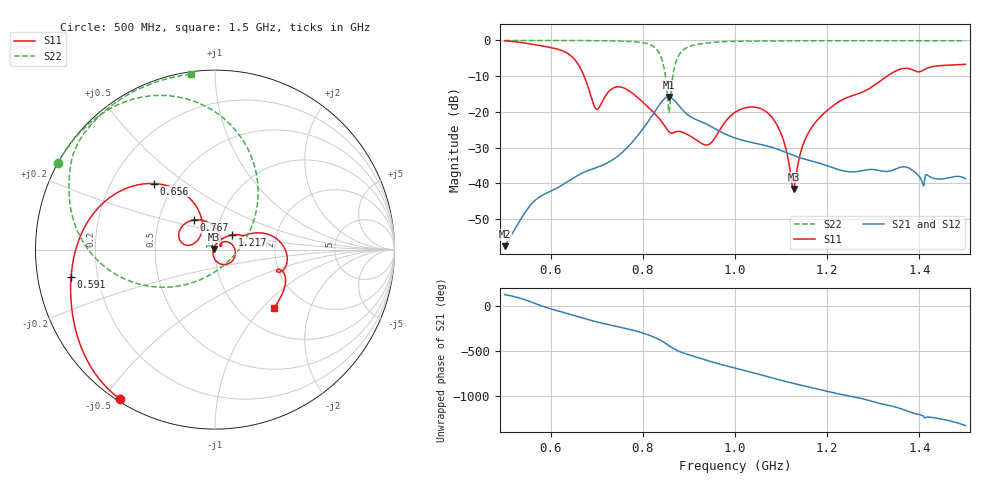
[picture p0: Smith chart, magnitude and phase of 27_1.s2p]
! TOUCHSTONE file generated by CST MICROWAVE STUDIO
! Date and time: Mon Oct 26 12:08:33 2020
! Project name: Scenario_1_Circular_Tissue_out_of_Line_v2.cst
! Parameters = {dy1=103.8; L_HA=400; MT=2.54; Rad_Dielectric=30; Rad_Lower=7.3; Rad_Upper=30; a_HA=580; a_WG=246; b_HA=500; b_WG=121; c_HA=0; c_WG=187; d_feed=85; dx1=173; h_feed=15; h_lower=18; h_upper=40}
! Header version: 2018
! Port assignment regex: !\s*Touchstone port\s*([0-9]+)\s*=\s*(CST MWS port|CST DS port)\s*([0-9]+|Zmin|Zmax)\s*\(\"(.*)\"\)(\s*mode\s*([0-9]+))?.*
! Touchstone port assignment:
! Touchstone port 1 = CST MWS port 1 ("")
! Touchstone port 2 = CST MWS port 2 ("")
# GHz S DB R 50
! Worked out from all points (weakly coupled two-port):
!   1003 points, 500 MHz to 1.5 GHz, reference 50 ohm
!   highest |S21| = -15.79 dB at 856 MHz (marker M1); lowest = -57.6 dB at 500 MHz (marker M2)
!   lowest |S11| = -41.5 dB at 1.127 GHz (marker M3), VSWR 1.02, Z = 49.2 + j0.285 ohm
!   |S11| at or under -10 dB: 672.6 MHz to 1.33 GHz (657.4 MHz wide, 65.7 % of centre)
!   |S22| runs from -20.1 to 0.0 dB; largest |S21 - S12| = 0.00021
!   S11 on the Smith chart (normalised r, x): 500 MHz: 0.01, -0.55; 591 MHz: 0.10, -0.09; 656 MHz: 0.39, +0.38; 767 MHz: 0.75, +0.26; 1.217 GHz: 1.20, +0.20; 1.5 GHz: 1.42, -1.17
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0.5  -0.11 -122.5  -57.59 128.2  -57.59 128.2  -0.01 151.1
0.591  -1.77 -169.3  -42.74 -16.7  -42.74 -16.7  -0.02 144.8
0.626  -2.93 165.1  -40.39 -68.8  -40.39 -68.8  -0.03 142.0
0.656  -6.00 132.7  -37.98 -112.9  -37.98 -112.9  -0.04 139.4
0.667  -8.40 120.9  -37.21 -129.7  -37.21 -129.7  -0.04 138.3
0.699  -19.21 142.3  -35.59 -175.6  -35.59 -175.6  -0.07 134.9
0.735  -13.36 160.1  -33.37 141.9  -33.37 141.9  -0.13 130.0
0.767  -13.85 125.6  -29.87 105.1  -29.87 105.1  -0.25 123.8
0.834  -21.64 69.7  -18.38 -10.0  -18.38 -10.0  -3.19 82.0
0.846  -23.65 61.8  -16.41 -45.1  -16.41 -45.1  -7.64 54.6
0.856  -25.47 60.9  -15.79 -79.2  -15.79 -79.2  -19.63 -26.4
0.868  -25.75 63.9  -16.74 -117.9  -16.74 -117.9  -7.89 -149.2
0.892  -26.02 44.5  -20.21 -170.6  -20.21 -170.6  -2.24 172.4
0.942  -29.19 37.2  -23.68 109.2  -23.68 109.2  -0.68 150.8
1  -20.13 17.2  -27.30 28.1  -27.30 28.1  -0.25 140.1
1.08  -21.51 -70.4  -29.91 -79.6  -29.91 -79.6  -0.14 131.4
1.105  -27.89 -101.6  -31.08 -114.3  -31.08 -114.3  -0.12 129.2
1.127  -41.55 159.8  -32.21 -142.6  -32.21 -142.6  -0.11 127.3
1.167  -24.23 60.5  -33.78 168.7  -33.78 168.7  -0.10 124.1
1.217  -17.90 40.5  -35.87 108.8  -35.87 108.8  -0.09 120.3
1.334  -9.65 13.1  -36.60 -27.8  -36.60 -27.8  -0.09 111.4
1.5  -6.68 -44.4  -38.69 108.9  -38.69 108.9  -0.12 97.8
